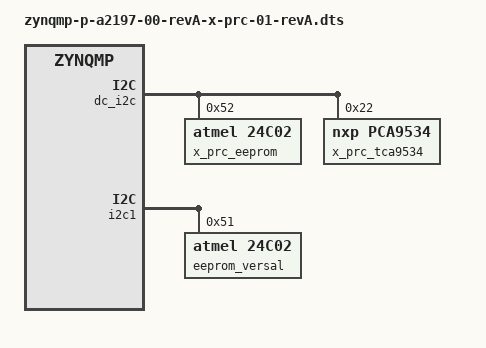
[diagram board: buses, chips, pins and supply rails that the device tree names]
// SPDX-License-Identifier: GPL-2.0
/*
 * dts file for Xilinx ZynqMP System Controller X-PRC-01 revA (SE1)
 *
 * (C) Copyright 2019, Xilinx, Inc.
 *
 * Michal Simek <michal.simek@xilinx.com>
 */

/dts-v1/;
/plugin/;

/{
	compatible = "xlnx,zynqmp-x-prc-01-revA", "xlnx,zynqmp-x-prc-01";

	fragment@0 {
		target = <&dc_i2c>;

		__overlay__ {
			#address-cells = <1>;
			#size-cells = <0>;

			x_prc_eeprom: eeprom@52 { /* u120 */
				compatible = "atmel,24c02";
				reg = <0x52>;
			};

			x_prc_tca9534: gpio@22 { /* u121 tca9534 */
				compatible = "nxp,pca9534";
				reg = <0x22>;
				gpio-controller; /* IRQ not connected */
				#gpio-cells = <2>;
				gpio-line-names = "sw4_1", "sw4_2", "sw4_3", "sw4_4",
						  "", "", "", "";
				gtr_sel0 {
					gpio-hog;
					gpios = <0 0>;
					input; /* FIXME add meaning */
					line-name = "sw4_1";
				};
				gtr_sel1 {
					gpio-hog;
					gpios = <1 0>;
					input; /* FIXME add meaning */
					line-name = "sw4_2";
				};
				gtr_sel2 {
					gpio-hog;
					gpios = <2 0>;
					input; /* FIXME add meaning */
					line-name = "sw4_3";
				};
				gtr_sel3 {
					gpio-hog;
					gpios = <3 0>;
					input; /* FIXME add meaning */
					line-name = "sw4_4";
				};
			};
		};
	};

	fragment@1 {
		target = <&i2c1>; /* Must be enabled via J242 */
		__overlay__ {
			#address-cells = <1>;
			#size-cells = <0>;

			eeprom_versal: eeprom@51 { /* u116 */
				compatible = "atmel,24c02";
				reg = <0x51>;
			};
		};
	};
};
